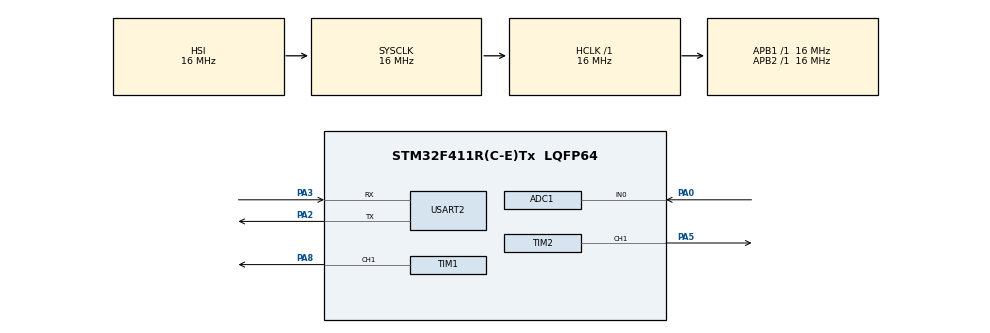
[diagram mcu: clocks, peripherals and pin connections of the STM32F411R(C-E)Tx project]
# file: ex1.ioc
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ADC1.Channel-0\#ChannelRegularConversion=ADC_CHANNEL_0
ADC1.ContinuousConvMode=ENABLE
ADC1.NbrOfConversionFlag=1
ADC1.Rank-0\#ChannelRegularConversion=1
ADC1.SamplingTime-0\#ChannelRegularConversion=ADC_SAMPLETIME_56CYCLES
ADC1.master=1
Mcu.Family=STM32F4
Mcu.Name=STM32F411R(C-E)Tx
Mcu.Package=LQFP64
NVIC.PriorityGroup=NVIC_PRIORITYGROUP_4
NVIC.USART2_IRQn=true\:0\:0\:false\:false\:true\:true\:true\:true
PA0-WKUP.Signal=ADCx_IN0
PA13.Mode=Serial_Wire
PA13.Signal=SYS_JTMS-SWDIO
PA14.Mode=Serial_Wire
PA14.Signal=SYS_JTCK-SWCLK
PA2.Mode=Asynchronous
PA2.Signal=USART2_TX
PA3.Mode=Asynchronous
PA3.Signal=USART2_RX
PA5.Signal=S_TIM2_CH1_ETR
PA8.Signal=S_TIM1_CH1
PC14-OSC32_IN.Mode=LSE-External-Oscillator
PC14-OSC32_IN.Signal=RCC_OSC32_IN
PC15-OSC32_OUT.Mode=LSE-External-Oscillator
PC15-OSC32_OUT.Signal=RCC_OSC32_OUT
ProjectManager.HeapSize=0x200
ProjectManager.StackSize=0x400
ProjectManager.TargetToolchain=STM32CubeIDE
RCC.AHBFreq_Value=16000000
RCC.APB1Freq_Value=16000000
RCC.APB2Freq_Value=16000000
RCC.CortexFreq_Value=16000000
RCC.HSE_VALUE=25000000
RCC.HSI_VALUE=16000000
RCC.SYSCLKFreq_VALUE=16000000
RCC.VCOOutputFreq_Value=192000000
SH.ADCx_IN0.0=ADC1_IN0,IN0
SH.S_TIM1_CH1.0=TIM1_CH1,PWM Generation1 CH1
SH.S_TIM2_CH1_ETR.0=TIM2_CH1,PWM Generation1 CH1
TIM1.Channel-PWM\ Generation1\ CH1=TIM_CHANNEL_1
TIM1.Period=1000-1
TIM1.Prescaler=16-1
TIM1.Pulse-PWM\ Generation1\ CH1=500-1
TIM2.Channel-PWM\ Generation1\ CH1=TIM_CHANNEL_1
TIM2.Period=1000-1
TIM2.Prescaler=16-1
TIM2.Pulse-PWM\ Generation1\ CH1=500-1
USART2.VirtualMode=VM_ASYNC
VP_TIM1_VS_ClockSourceINT.Mode=Internal
VP_TIM2_VS_ClockSourceINT.Mode=Internal
board=custom

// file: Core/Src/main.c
/* USER CODE BEGIN Header */
/**
  ******************************************************************************
  * @file           : main.c
  * @brief          : Main program body
  ******************************************************************************
  * @attention
  *
  * Copyright (c) 2024 STMicroelectronics.
  * All rights reserved.
  *
  * This software is licensed under terms that can be found in the LICENSE file
  * in the root directory of this software component.
  * If no LICENSE file comes with this software, it is provided AS-IS.
  *
  ******************************************************************************
  */
/* USER CODE END Header */
#include "main.h"

/* USER CODE BEGIN Includes */
#include <stdbool.h>
#include "uart.h"
/* USER CODE END Includes */

ADC_HandleTypeDef hadc1;

TIM_HandleTypeDef htim1;
TIM_HandleTypeDef htim2;

UART_HandleTypeDef huart2;

void SystemClock_Config(void);
static void MX_GPIO_Init(void);
static void MX_USART2_UART_Init(void);
static void MX_ADC1_Init(void);
static void MX_TIM2_Init(void);
static void MX_TIM1_Init(void);

/* USER CODE BEGIN 0 */
static bool isAdcRun = false;
int value;

int soundLut[]={
	131,147,165,175,196,220,247,262
};

void setSound(int freq){
	htim1.Instance->ARR=1000000/freq-1;
	htim1.Instance->CCR1 =htim1.Instance->ARR/2;
}

void stopSound(){
	htim1.Instance->CCR1 =0;
}
/* USER CODE END 0 */

int main(void)
{

  /* MCU Configuration--------------------------------------------------------*/

  /* Reset of all peripherals, Initializes the Flash interface and the Systick. */
  HAL_Init();

  /* Configure the system clock */
  SystemClock_Config();

  /* Initialize all configured peripherals */
  MX_GPIO_Init();
  MX_USART2_UART_Init();
  MX_ADC1_Init();
  MX_TIM2_Init();
  MX_TIM1_Init();
  /* USER CODE BEGIN 2 */
  initUart(&huart2);
  HAL_TIM_PWM_Start(&htim2,TIM_CHANNEL_1);
  HAL_TIM_PWM_Start(&htim1,TIM_CHANNEL_1);
  /* USER CODE END 2 */

  /* Infinite loop */
  /* USER CODE BEGIN WHILE */
  while (1)
  {
	  static bool isAdcRun = false;
	  char *mesg = getString();
	  if(strncmp(mesg, "START", 5) == 0){
		  isAdcRun = true;
		  mesg[0]=0;
	  }
	  if(strncmp(mesg, "STOP", 4) == 0) {
		  isAdcRun = false;
		  mesg[0]=0;
	  }
	  static int duty = 0;
	  static bool isUp =true;
	  htim2.Instance->CCR1 =duty;
	  if(isUp){
		  duty+=10;
		  if(duty >=999)isUp=false;
	  }
	  else{
		  duty-=10;
		  if(duty <=0)isUp=true;
	  }
	  for(int i =0; i<8; i++){
		  setSound(soundLut);
		  HAL_Delay(10);
	  }
//	  for(int i =20; i<20001; i++){
//		  setSound(i);
//		  HAL_Delay(10);
//	  }
	  if(isAdcRun){
		  HAL_ADC_Start(&hadc1);
		  HAL_ADC_PollForConversion(&hadc1, 1);
		  int value = HAL_ADC_GetValue(&hadc1);
		  HAL_ADC_Stop(&hadc1);
		  putSerial2(value);
	  }
	  HAL_Delay(10);
    /* USER CODE END WHILE */

  }
}

void SystemClock_Config(void)
{
  RCC_OscInitTypeDef RCC_OscInitStruct = {0};
  RCC_ClkInitTypeDef RCC_ClkInitStruct = {0};

  /** Configure the main internal regulator output voltage
  */
  __HAL_RCC_PWR_CLK_ENABLE();
  __HAL_PWR_VOLTAGESCALING_CONFIG(PWR_REGULATOR_VOLTAGE_SCALE1);

  /** Initializes the RCC Oscillators according to the specified parameters
  * in the RCC_OscInitTypeDef structure.
  */
  RCC_OscInitStruct.OscillatorType = RCC_OSCILLATORTYPE_HSI;
  RCC_OscInitStruct.HSIState = RCC_HSI_ON;
  RCC_OscInitStruct.HSICalibrationValue = RCC_HSICALIBRATION_DEFAULT;
  RCC_OscInitStruct.PLL.PLLState = RCC_PLL_NONE;
  if (HAL_RCC_OscConfig(&RCC_OscInitStruct) != HAL_OK)
  {
    Error_Handler();
  }

  /** Initializes the CPU, AHB and APB buses clocks
  */
  RCC_ClkInitStruct.ClockType = RCC_CLOCKTYPE_HCLK|RCC_CLOCKTYPE_SYSCLK
                              |RCC_CLOCKTYPE_PCLK1|RCC_CLOCKTYPE_PCLK2;
  RCC_ClkInitStruct.SYSCLKSource = RCC_SYSCLKSOURCE_HSI;
  RCC_ClkInitStruct.AHBCLKDivider = RCC_SYSCLK_DIV1;
  RCC_ClkInitStruct.APB1CLKDivider = RCC_HCLK_DIV1;
  RCC_ClkInitStruct.APB2CLKDivider = RCC_HCLK_DIV1;

  if (HAL_RCC_ClockConfig(&RCC_ClkInitStruct, FLASH_LATENCY_0) != HAL_OK)
  {
    Error_Handler();
  }
}

static void MX_ADC1_Init(void)
{

  ADC_ChannelConfTypeDef sConfig = {0};

  /** Configure the global features of the ADC (Clock, Resolution, Data Alignment and number of conversion)
  */
  hadc1.Instance = ADC1;
  hadc1.Init.ClockPrescaler = ADC_CLOCK_SYNC_PCLK_DIV2;
  hadc1.Init.Resolution = ADC_RESOLUTION_12B;
  hadc1.Init.ScanConvMode = DISABLE;
  hadc1.Init.ContinuousConvMode = ENABLE;
  hadc1.Init.DiscontinuousConvMode = DISABLE;
  hadc1.Init.ExternalTrigConvEdge = ADC_EXTERNALTRIGCONVEDGE_NONE;
  hadc1.Init.ExternalTrigConv = ADC_SOFTWARE_START;
  hadc1.Init.DataAlign = ADC_DATAALIGN_RIGHT;
  hadc1.Init.NbrOfConversion = 1;
  hadc1.Init.DMAContinuousRequests = DISABLE;
  hadc1.Init.EOCSelection = ADC_EOC_SINGLE_CONV;
  if (HAL_ADC_Init(&hadc1) != HAL_OK)
  {
    Error_Handler();
  }

  /** Configure for the selected ADC regular channel its corresponding rank in the sequencer and its sample time.
  */
  sConfig.Channel = ADC_CHANNEL_0;
  sConfig.Rank = 1;
  sConfig.SamplingTime = ADC_SAMPLETIME_56CYCLES;
  if (HAL_ADC_ConfigChannel(&hadc1, &sConfig) != HAL_OK)
  {
    Error_Handler();
  }

}

static void MX_TIM1_Init(void)
{

  TIM_ClockConfigTypeDef sClockSourceConfig = {0};
  TIM_MasterConfigTypeDef sMasterConfig = {0};
  TIM_OC_InitTypeDef sConfigOC = {0};
  TIM_BreakDeadTimeConfigTypeDef sBreakDeadTimeConfig = {0};

  htim1.Instance = TIM1;
  htim1.Init.Prescaler = 16-1;
  htim1.Init.CounterMode = TIM_COUNTERMODE_UP;
  htim1.Init.Period = 1000-1;
  htim1.Init.ClockDivision = TIM_CLOCKDIVISION_DIV1;
  htim1.Init.RepetitionCounter = 0;
  htim1.Init.AutoReloadPreload = TIM_AUTORELOAD_PRELOAD_DISABLE;
  if (HAL_TIM_Base_Init(&htim1) != HAL_OK)
  {
    Error_Handler();
  }
  sClockSourceConfig.ClockSource = TIM_CLOCKSOURCE_INTERNAL;
  if (HAL_TIM_ConfigClockSource(&htim1, &sClockSourceConfig) != HAL_OK)
  {
    Error_Handler();
  }
  if (HAL_TIM_PWM_Init(&htim1) != HAL_OK)
  {
    Error_Handler();
  }
  sMasterConfig.MasterOutputTrigger = TIM_TRGO_RESET;
  sMasterConfig.MasterSlaveMode = TIM_MASTERSLAVEMODE_DISABLE;
  if (HAL_TIMEx_MasterConfigSynchronization(&htim1, &sMasterConfig) != HAL_OK)
  {
    Error_Handler();
  }
  sConfigOC.OCMode = TIM_OCMODE_PWM1;
  sConfigOC.Pulse = 500-1;
  sConfigOC.OCPolarity = TIM_OCPOLARITY_HIGH;
  sConfigOC.OCNPolarity = TIM_OCNPOLARITY_HIGH;
  sConfigOC.OCFastMode = TIM_OCFAST_DISABLE;
  sConfigOC.OCIdleState = TIM_OCIDLESTATE_RESET;
  sConfigOC.OCNIdleState = TIM_OCNIDLESTATE_RESET;
  if (HAL_TIM_PWM_ConfigChannel(&htim1, &sConfigOC, TIM_CHANNEL_1) != HAL_OK)
  {
    Error_Handler();
  }
  sBreakDeadTimeConfig.OffStateRunMode = TIM_OSSR_DISABLE;
  sBreakDeadTimeConfig.OffStateIDLEMode = TIM_OSSI_DISABLE;
  sBreakDeadTimeConfig.LockLevel = TIM_LOCKLEVEL_OFF;
  sBreakDeadTimeConfig.DeadTime = 0;
  sBreakDeadTimeConfig.BreakState = TIM_BREAK_DISABLE;
  sBreakDeadTimeConfig.BreakPolarity = TIM_BREAKPOLARITY_HIGH;
  sBreakDeadTimeConfig.AutomaticOutput = TIM_AUTOMATICOUTPUT_DISABLE;
  if (HAL_TIMEx_ConfigBreakDeadTime(&htim1, &sBreakDeadTimeConfig) != HAL_OK)
  {
    Error_Handler();
  }
  HAL_TIM_MspPostInit(&htim1);

}

static void MX_TIM2_Init(void)
{

  TIM_ClockConfigTypeDef sClockSourceConfig = {0};
  TIM_MasterConfigTypeDef sMasterConfig = {0};
  TIM_OC_InitTypeDef sConfigOC = {0};

  htim2.Instance = TIM2;
  htim2.Init.Prescaler = 16-1;
  htim2.Init.CounterMode = TIM_COUNTERMODE_UP;
  htim2.Init.Period = 1000-1;
  htim2.Init.ClockDivision = TIM_CLOCKDIVISION_DIV1;
  htim2.Init.AutoReloadPreload = TIM_AUTORELOAD_PRELOAD_DISABLE;
  if (HAL_TIM_Base_Init(&htim2) != HAL_OK)
  {
    Error_Handler();
  }
  sClockSourceConfig.ClockSource = TIM_CLOCKSOURCE_INTERNAL;
  if (HAL_TIM_ConfigClockSource(&htim2, &sClockSourceConfig) != HAL_OK)
  {
    Error_Handler();
  }
  if (HAL_TIM_PWM_Init(&htim2) != HAL_OK)
  {
    Error_Handler();
  }
  sMasterConfig.MasterOutputTrigger = TIM_TRGO_RESET;
  sMasterConfig.MasterSlaveMode = TIM_MASTERSLAVEMODE_DISABLE;
  if (HAL_TIMEx_MasterConfigSynchronization(&htim2, &sMasterConfig) != HAL_OK)
  {
    Error_Handler();
  }
  sConfigOC.OCMode = TIM_OCMODE_PWM1;
  sConfigOC.Pulse = 500-1;
  sConfigOC.OCPolarity = TIM_OCPOLARITY_HIGH;
  sConfigOC.OCFastMode = TIM_OCFAST_DISABLE;
  if (HAL_TIM_PWM_ConfigChannel(&htim2, &sConfigOC, TIM_CHANNEL_1) != HAL_OK)
  {
    Error_Handler();
  }
  HAL_TIM_MspPostInit(&htim2);

}

static void MX_USART2_UART_Init(void)
{

  huart2.Instance = USART2;
  huart2.Init.BaudRate = 115200;
  huart2.Init.WordLength = UART_WORDLENGTH_8B;
  huart2.Init.StopBits = UART_STOPBITS_1;
  huart2.Init.Parity = UART_PARITY_NONE;
  huart2.Init.Mode = UART_MODE_TX_RX;
  huart2.Init.HwFlowCtl = UART_HWCONTROL_NONE;
  huart2.Init.OverSampling = UART_OVERSAMPLING_16;
  if (HAL_UART_Init(&huart2) != HAL_OK)
  {
    Error_Handler();
  }

}

static void MX_GPIO_Init(void)
{

  /* GPIO Ports Clock Enable */
  __HAL_RCC_GPIOC_CLK_ENABLE();
  __HAL_RCC_GPIOA_CLK_ENABLE();

}

void Error_Handler(void)
{
  __disable_irq();
  while (1)
  {
  }
}
